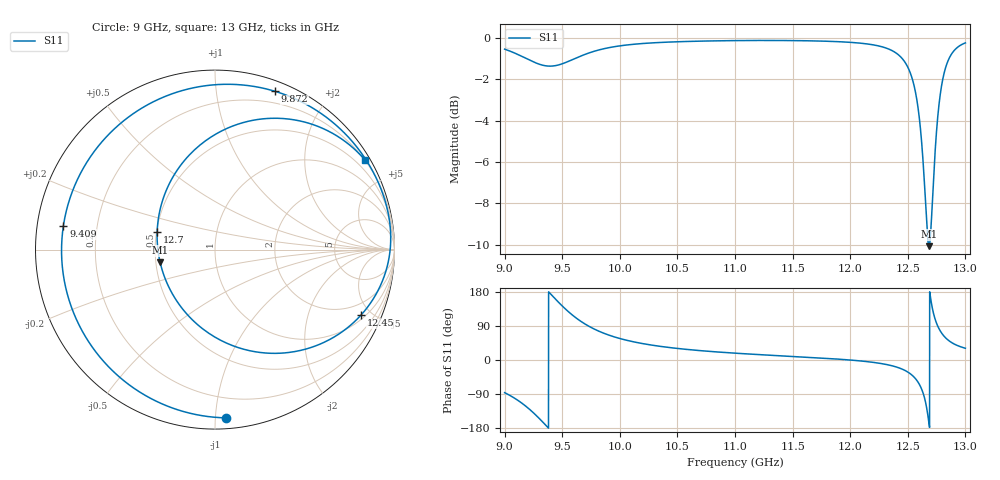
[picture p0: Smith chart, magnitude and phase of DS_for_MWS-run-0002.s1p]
! TOUCHSTONE file generated by CST DESIGN STUDIO
! Date and time: Tue Feb  4 13:24:46 2025
! Project name: C:\Work\MatlabApps\UnitCellOptimizationMatlab\CST\unitcell.cst
! Tree item: Tasks\Sweep1\SPara1\S-Parameters
! Header version: 2024
! Port assignment regex: !\s*Touchstone port\s*([0-9]+)\s*=\s*(CST MWS port|CST DES external port|CST DES block port)\s*(.+)\s* \(\"(.*)\"\)(\s*mode\s*([0-9]+))?.*
! Touchstone port assignment:
! Touchstone port 1 = CST DES external port 1 ("")
# GHz S MA R 50
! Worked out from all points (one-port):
!   4001 points, 9 GHz to 13 GHz, reference 50 ohm
!   lowest |S11| = -10.1 dB at 12.68 GHz (marker M1), VSWR 1.92, Z = 26.4 - j4.14 ohm
!   |S11| at or under -10 dB: 12.67967 GHz to 12.68838 GHz (8.715 MHz wide, 0.0687 % of centre)
!   S11 on the Smith chart (normalised r, x): 9 GHz: 0.07, -1.07; 9.409 GHz: 0.08, +0.08; 9.872 GHz: 0.09, +1.44; 12.45 GHz: 1.22, -4.34; 12.7 GHz: 0.50, +0.11; 13 GHz: 0.19, +3.60
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9  0.9396 -86.2
9.111  0.9131 -105.6
9.205  0.8871 -127.2
9.317  0.8612 -159.3
9.409  0.855 171.1
9.5  0.866 142.7
9.577  0.8834 121.4
9.658  0.9034 102.8
9.872  0.9431 69.3
10  0.9569 56.7
10.215  0.9702 42.4
10.5  0.979 30.5
11  0.9853 18.0
11.5  0.9854 9.4
12  0.9758 -0.1
12.268  0.9533 -9.3
12.452  0.8913 -24.2
12.5  0.8501 -31.8
12.56  0.7551 -46.9
12.614  0.5865 -72.5
12.648  0.428 -103.4
12.684  0.3139 -167.0
12.698  0.3366 163.2
12.744  0.5674 101.6
12.789  0.7538 73.2
12.831  0.8526 57.6
12.877  0.9119 46.7
13  0.9728 31.0
